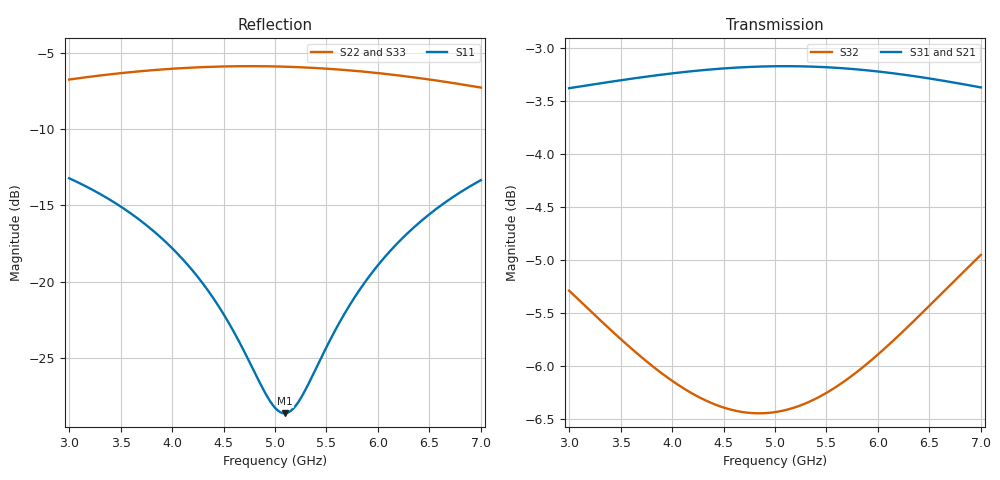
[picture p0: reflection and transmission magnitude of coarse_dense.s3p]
! yapnr rf: r1-osh-m-m-eq-em528, footprint re-simulated (optimization grid)
! spec sha256 dd95213e35834942a596abac4efa3bdce33b844bcec5d314b49280e5b79e71dd
! 3 ports renormalized to 50 ohm, e^(+jwt) convention
# GHz S RI R 50
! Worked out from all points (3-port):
!   161 points, 3 GHz to 7 GHz, reference 50 ohm
!   strongest paths, dB at 3 GHz, 4 GHz, 5 GHz, 6 GHz, 7 GHz:
!     S31: -3.4, -3.2, -3.2, -3.2, -3.4
!     S21: -3.4, -3.2, -3.2, -3.2, -3.4
!     S32: -5.3, -6.1, -6.4, -5.9, -4.9
!   lowest |S11| = -28.6 dB at 5.1 GHz (marker M1), VSWR 1.08, Z = 46.4 - j0.176 ohm
!   |S11| at or under -10 dB: start of sweep to end of sweep
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3  -0.1651 0.1429  0.00438 -0.6779  0.00438 -0.6779
   0.00441 -0.678  -0.2416 0.3911  0.085 -0.5375
   0.00441 -0.678  0.085 -0.5375  -0.2416 0.3911
3.55  -0.116 0.1269  -0.1951 -0.656  -0.1951 -0.656
      -0.195 -0.6561  -0.1344 0.4653  -0.0268 -0.513
      -0.195 -0.6561  -0.0268 -0.513  -0.1344 0.4653
4.125  -0.0722 0.0913  -0.3906 -0.5688  -0.3906 -0.5688
       -0.3905 -0.569  0.00972 0.5015  -0.1187 -0.4743
       -0.3905 -0.569  -0.1187 -0.4743  0.00972 0.5015
4.5  -0.0515 0.0591  -0.5004 -0.4789  -0.5004 -0.4789
     -0.5004 -0.4791  0.1113 0.495  -0.1685 -0.4486
     -0.5004 -0.4791  -0.1685 -0.4486  0.1113 0.495
5  -0.0377 0.00872  -0.6133 -0.3254  -0.6133 -0.3254
   -0.6133 -0.3256  0.2405 0.4468  -0.2305 -0.4174
   -0.6133 -0.3256  -0.2305 -0.4174  0.2405 0.4468
5.1  -0.037 -0.00189  -0.6303 -0.291  -0.6303 -0.291
     -0.6304 -0.2912  0.2641 0.4322  -0.2431 -0.4114
     -0.6304 -0.2912  -0.2431 -0.4114  0.2641 0.4322
5.25  -0.0375 -0.0179  -0.6521 -0.2378  -0.6521 -0.2378
      -0.6523 -0.238  0.2973 0.4073  -0.2624 -0.4024
      -0.6523 -0.238  -0.2624 -0.4024  0.2973 0.4073
5.675  -0.0479 -0.0623  -0.688 -0.0794  -0.688 -0.0794
       -0.6882 -0.0796  0.3748 0.322  -0.3208 -0.3745
       -0.6882 -0.0796  -0.3208 -0.3745  0.3748 0.322
6.025  -0.0661 -0.0954  -0.688 0.0536  -0.688 0.0536
       -0.6882 0.0535  0.4173 0.2406  -0.3739 -0.3453
       -0.6882 0.0535  -0.3739 -0.3453  0.4173 0.2406
7  -0.1506 -0.1538  -0.5567 0.3878  -0.5567 0.3878
   -0.5569 0.3878  0.4324 0.014  -0.5279 -0.2032
   -0.5569 0.3878  -0.5279 -0.2032  0.4324 0.014
